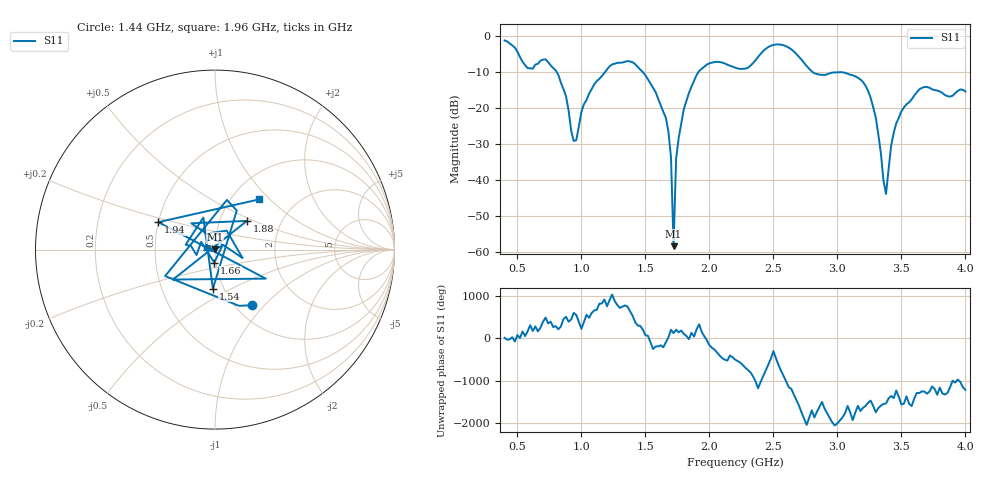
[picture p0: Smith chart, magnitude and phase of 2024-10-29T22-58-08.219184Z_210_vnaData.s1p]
!Created with skrf (http://scikit-rf.org).
# Hz S RI R 50.0
!freq ReS11 ImS11
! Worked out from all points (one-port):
!   181 points, 400 MHz to 4 GHz, reference 50 ohm
!   lowest |S11| = -58.4 dB at 1.72 GHz (marker M1), VSWR 1.00, Z = 49.9 + j0.0998 ohm
!   |S11| at or under -10 dB: 806.5 MHz to 1.185 GHz (378.9 MHz wide, 38 % of centre); 1.479 GHz to 1.915 GHz (436.5 MHz wide, 25.7 % of centre); 2.806 GHz to end of sweep
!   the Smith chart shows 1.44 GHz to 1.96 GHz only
!   S11 on the Smith chart (normalised r, x): 1.44 GHz: 1.19, -0.85; 1.54 GHz: 0.89, -0.41; 1.66 GHz: 0.98, -0.14; 1.88 GHz: 1.34, +0.46; 1.94 GHz: 0.50, +0.17; 1.96 GHz: 1.33, +0.87
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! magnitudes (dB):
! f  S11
! 400 MHz  -1.2
! 580 MHz  -8.9
! 720 MHz  -6.5
! 860 MHz  -14.8
! 960 MHz  -28.9
! 1.1 GHz  -13.5
! 1.3 GHz  -7.4
! 1.44 GHz  -8.6
! 1.54 GHz  -13.2
! 1.66 GHz  -22.8
! 1.7 GHz  -33.8
! 1.72 GHz  -58.4
! 1.74 GHz  -34.1
! 1.76 GHz  -28.4
! 1.88 GHz  -12.4
! 1.94 GHz  -9.1
! 1.96 GHz  -8.6
! 2.2 GHz  -8.8
! 2.66 GHz  -4.3
! 2.82 GHz  -10.4
! 3.1 GHz  -10.8
! 3.26 GHz  -17.2
! 3.3 GHz  -22.7
! 3.38 GHz  -43.9
! 3.44 GHz  -26.9
! 3.56 GHz  -18.4
! 3.68 GHz  -14.2
! 4 GHz  -15.4
